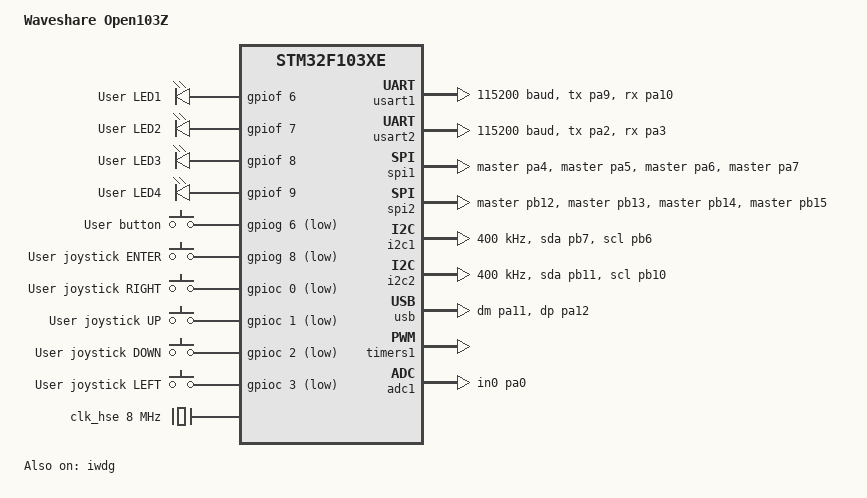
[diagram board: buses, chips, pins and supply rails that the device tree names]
/*
 * Copyright (c) 2020 Stefano Manni
 *
 * SPDX-License-Identifier: Apache-2.0
 */

/dts-v1/;
#include <st/f1/stm32f103Xe.dtsi>
#include <st/f1/stm32f103z(c-d-e)tx-pinctrl.dtsi>
#include <zephyr/dt-bindings/input/input-event-codes.h>

/ {
	model = "Waveshare Open103Z";
	compatible = "waveshare,open103z";

	chosen {
		zephyr,console = &usart1;
		zephyr,shell-uart = &usart1;
		zephyr,sram = &sram0;
		zephyr,flash = &flash0;
		zephyr,canbus = &can1;
	};

	leds {
		compatible = "gpio-leds";
		led_1: led_1 {
			gpios = <&gpiof 6 GPIO_ACTIVE_HIGH>;
			label = "User LED1";
		};
		led_2: led_2 {
			gpios = <&gpiof 7 GPIO_ACTIVE_HIGH>;
			label = "User LED2";
		};
		led_3: led_3 {
			gpios = <&gpiof 8 GPIO_ACTIVE_HIGH>;
			label = "User LED3";
		};
		led_4: led_4 {
			gpios = <&gpiof 9 GPIO_ACTIVE_HIGH>;
			label = "User LED4";
		};
	};

	gpio_keys {
		compatible = "gpio-keys";
		button: button {
			label = "User button";
			gpios = <&gpiog 6 (GPIO_PULL_UP | GPIO_ACTIVE_LOW)>;
			zephyr,code = <INPUT_KEY_0>;
		};
		joystick_enter: joystick_enter {
			label = "User joystick ENTER";
			gpios = <&gpiog 8 (GPIO_PULL_UP | GPIO_ACTIVE_LOW)>;
			zephyr,code = <INPUT_KEY_ENTER>;
		};
		joystick_right: joystick_right {
			label = "User joystick RIGHT";
			gpios = <&gpioc 0 (GPIO_PULL_UP | GPIO_ACTIVE_LOW)>;
			zephyr,code = <INPUT_KEY_RIGHT>;
		};
		joystick_up: joystick_up {
			label = "User joystick UP";
			gpios = <&gpioc 1 (GPIO_PULL_UP | GPIO_ACTIVE_LOW)>;
			zephyr,code = <INPUT_KEY_UP>;
		};
		joystick_down: joystick_down {
			label = "User joystick DOWN";
			gpios = <&gpioc 2 (GPIO_PULL_UP | GPIO_ACTIVE_LOW)>;
			zephyr,code = <INPUT_KEY_DOWN>;
		};
		joystick_left: joystick_left {
			label = "User joystick LEFT";
			gpios = <&gpioc 3 (GPIO_PULL_UP | GPIO_ACTIVE_LOW)>;
			zephyr,code = <INPUT_KEY_LEFT>;
		};
	};

	aliases {
		led0 = &led_1;
		led1 = &led_2;
		led2 = &led_3;
		led3 = &led_4;
		sw0 = &button;
		watchdog0 = &iwdg;
	};
};

&clk_hse {
	clock-frequency = <DT_FREQ_M(8)>;
	status = "okay";
};

&pll {
	mul = <9>;
	clocks = <&clk_hse>;
	status = "okay";
};

&rcc {
	clocks = <&pll>;
	clock-frequency = <DT_FREQ_M(72)>;
	ahb-prescaler = <1>;
	apb1-prescaler = <2>;
	apb2-prescaler = <1>;
	/* usbpre not set: USB clock = 72 / 1.5: 48MHz */
};

&usart1 {
	pinctrl-0 = <&usart1_tx_pa9 &usart1_rx_pa10>;
	pinctrl-names = "default";
	current-speed = <115200>;
	status = "okay";
};

&usart2 {
	pinctrl-0 = <&usart2_tx_pa2 &usart2_rx_pa3>;
	pinctrl-names = "default";
	current-speed = <115200>;
	status = "okay";
};

&spi1 {
	pinctrl-0 = <&spi1_nss_master_pa4 &spi1_sck_master_pa5
		     &spi1_miso_master_pa6 &spi1_mosi_master_pa7>;
	pinctrl-names = "default";
	status = "okay";
};

&spi2 {
	pinctrl-0 = <&spi2_nss_master_pb12 &spi2_sck_master_pb13
		     &spi2_miso_master_pb14 &spi2_mosi_master_pb15>;
	pinctrl-names = "default";
	status = "okay";
};

&i2c1 {
	pinctrl-0 = <&i2c1_sda_pb7 &i2c1_scl_pb6>;
	pinctrl-names = "default";
	status = "okay";
	clock-frequency = <I2C_BITRATE_FAST>;
};

&i2c2 {
	pinctrl-0 = <&i2c2_sda_pb11 &i2c2_scl_pb10>;
	pinctrl-names = "default";
	status = "okay";
	clock-frequency = <I2C_BITRATE_FAST>;
};

&can1 {
	pinctrl-0 = <&can_rx_remap1_pb8 &can_tx_remap1_pb9>;
	pinctrl-names = "default";
	/*
	 * make sure CAN and USB are not enabled at the same time
	 * because they share interrupts 19, 20 (stm32f103Xb.dtsi)
	 * reference: RM0008 rev20 page 205
	 */
	status = "disabled";
	bus-speed = <125000>;
};

zephyr_udc0: &usb {
	/*
	 * make sure CAN and USB are not enabled at the same time
	 * because they share interrupts 19, 20 (stm32f103Xb.dtsi)
	 * reference: RM0008 rev20 page 205
	 */
	pinctrl-0 = <&usb_dm_pa11 &usb_dp_pa12>;
	pinctrl-names = "default";
	status = "okay";
	disconnect-gpios = <&gpiog 15 GPIO_ACTIVE_HIGH>;
};

&timers1 {
	status = "okay";

	pwm1: pwm {
		status = "okay";
		pinctrl-0 = <&tim1_ch1_pwm_out_pa8>;
		pinctrl-names = "default";
	};
};

&iwdg {
	status = "okay";
};

&adc1 {
	pinctrl-0 = <&adc1_in0_pa0>;
	pinctrl-names = "default";
	status = "okay";
};
